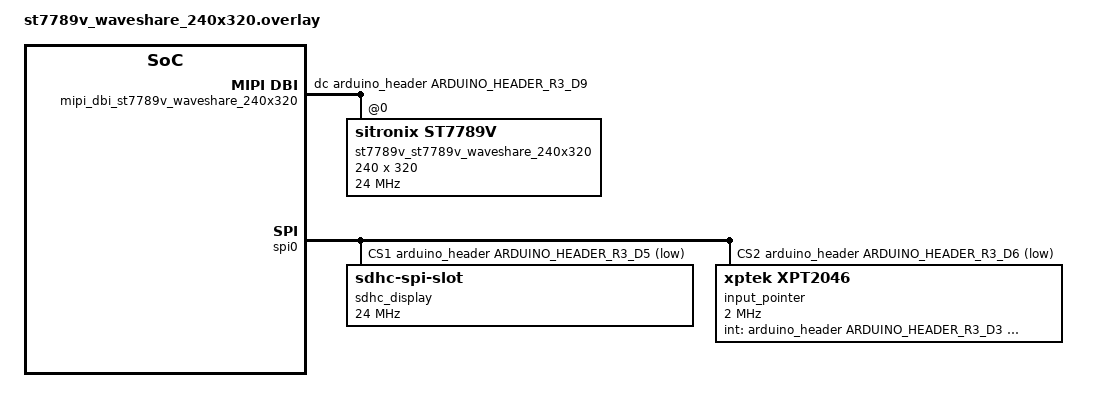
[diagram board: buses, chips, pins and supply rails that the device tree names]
/*
 * Copyright (c) 2026 Conclusive Engineering
 * Copyright (c) 2026 Texas Instruments
 *
 * SPDX-License-Identifier: Apache-2.0
 */

#include <zephyr/dt-bindings/mipi_dbi/mipi_dbi.h>
#include <zephyr/dt-bindings/gpio/arduino-header-r3.h>

/ {
	chosen {
		zephyr,display = &st7789v_st7789v_waveshare_240x320;
	};

	pointer {
		compatible = "zephyr,lvgl-pointer-input";
		input = <&input_pointer>;
		display = <&st7789v_st7789v_waveshare_240x320>;
		invert-x;
		invert-y;
	};

	mipi_dbi_st7789v_waveshare_240x320: mipi_dbi_st7789v_waveshare_240x320 {
		compatible = "zephyr,mipi-dbi-spi";
		spi-dev = <&arduino_spi>;
		dc-gpios = <&arduino_header ARDUINO_HEADER_R3_D9 GPIO_ACTIVE_HIGH>;
		write-only;
		#address-cells = <1>;
		#size-cells = <0>;

		st7789v_st7789v_waveshare_240x320: st7789v@0 {
			compatible = "sitronix,st7789v";
			mipi-max-frequency = <24000000>;
			reg = <0>;
			width = <240>;
			height = <320>;
			x-offset = <0>;
			y-offset = <0>;
			vcom = <0x28>;
			gctrl = <0x35>;
			vrhs = <0x0b>;
			vdvs = <0x20>;
			mdac = <0x00>;
			gamma = <0x01>;
			colmod = <0x55>;
			lcm = <0x3c>;

			porch-param = [0c 0c 00 33 33];
			cmd2en-param = [5a 69 02 01];
			pwctrl1-param = [a4 a1];
			pvgam-param = [d0 01 08 0f 11 2a 36 55 44 3a 0b 06 11 20];
			nvgam-param = [d0 02 07 0a 0b 18 34 43 4a 2b 1b 1c 22 1f];
			ram-param = [00 f0];
			rgb-param = [cd 08 14];
			mipi-mode = "MIPI_DBI_MODE_SPI_4WIRE";
		};
	};
};

arduino_spi: &spi0 {
	status = "okay";

	cs-gpios = <&arduino_header ARDUINO_HEADER_R3_D10 GPIO_ACTIVE_LOW>,
		   <&arduino_header ARDUINO_HEADER_R3_D5 GPIO_ACTIVE_LOW>,
		   <&arduino_header ARDUINO_HEADER_R3_D6 GPIO_ACTIVE_LOW>;

	sdhc_display: sdhc@1 {
		compatible = "zephyr,sdhc-spi-slot";
		reg = <1>;
		status = "okay";

		mmc {
			compatible = "zephyr,sdmmc-disk";
			disk-name = "SD";
			status = "okay";
		};

		spi-max-frequency = <24000000>;
	};

	input_pointer: xpt2046@2 {
		compatible = "xptek,xpt2046";
		spi-max-frequency = <2000000>;
		reg = <0x2>;
		int-gpios = <&arduino_header ARDUINO_HEADER_R3_D3 GPIO_ACTIVE_LOW>;
		touchscreen-size-x = <240>;
		touchscreen-size-y = <320>;
		reads = <5>;
		min-x = <200>;
		min-y = <200>;
		max-x = <3800>;
		max-y = <3800>;
	};
};
